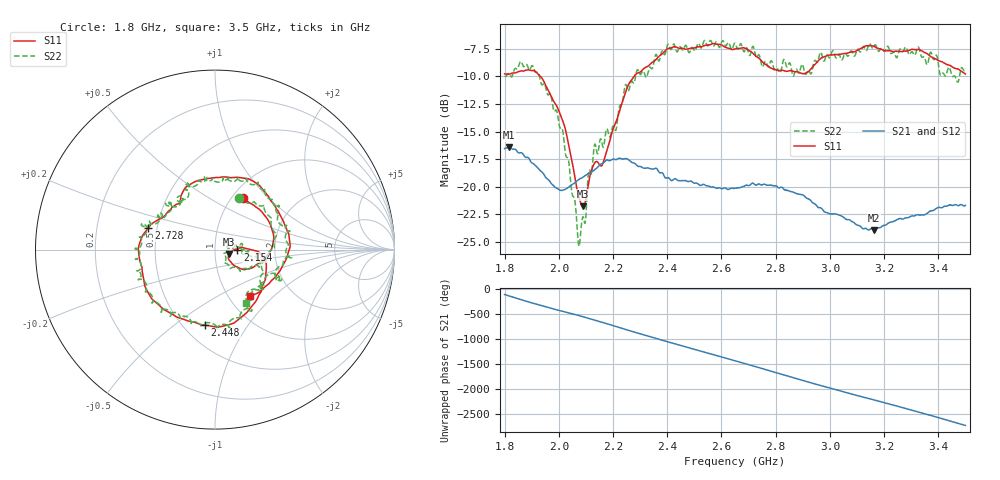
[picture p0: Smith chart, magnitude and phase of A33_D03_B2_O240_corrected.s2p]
! Created with skrf 1.9.0 (http://scikit-rf.org).
# Hz S RI R 50.0
!freq ReS11 ImS11 ReS21 ImS21 ReS12 ImS12 ReS22 ImS22
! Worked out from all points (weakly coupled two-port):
!   1601 points, 1.8 GHz to 3.5 GHz, reference 50 ohm
!   highest |S21| = -16.44 dB at 1.817 GHz (marker M1); lowest = -23.9 dB at 3.163 GHz (marker M2)
!   lowest |S11| = -21.8 dB at 2.09 GHz (marker M3), VSWR 1.18, Z = 58.3 - j2.9 ohm
!   |S11| at or under -10 dB: 1.933 GHz to 2.277 GHz (344.4 MHz wide, 16.4 % of centre)
!   |S22| runs from -25.4 to -6.7 dB; largest |S21 - S12| = 0.0026
!   S11 on the Smith chart (normalised r, x): 1.8 GHz: 1.13, +0.72; 2.154 GHz: 1.28, -0.00; 2.448 GHz: 0.64, -0.65; 2.728 GHz: 0.45, +0.13; 3.5 GHz: 1.25, -0.73
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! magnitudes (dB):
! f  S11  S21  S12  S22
! 1.8 GHz  -9.8  -16.5  -16.5  -9.9
! 1.817 GHz  -9.8  -16.4  -16.5  -9.8
! 1.903 GHz  -9.5  -17.9  -17.9  -9.0
! 1.968 GHz  -11.6  -19.6  -19.6  -11.5
! 2.015 GHz  -14.0  -20.3  -20.3  -14.9
! 2.072 GHz  -20.7  -19.4  -19.4  -25.1
! 2.084 GHz  -21.6  -19.2  -19.2  -23.4
! 2.09 GHz  -21.8  -19.1  -19.2  -22.7
! 2.13 GHz  -17.9  -18.5  -18.5  -16.4
! 2.154 GHz  -18.1  -18.0  -18.0  -15.7
! 2.209 GHz  -14.2  -17.5  -17.5  -14.9
! 2.259 GHz  -10.6  -17.6  -17.6  -11.2
! 2.367 GHz  -8.2  -18.6  -18.5  -8.6
! 2.448 GHz  -7.4  -19.5  -19.5  -7.3
! 2.65 GHz  -7.5  -20.1  -20.1  -7.0
! 2.728 GHz  -8.2  -19.9  -19.9  -8.2
! 2.934 GHz  -9.2  -21.4  -21.4  -9.6
! 3.163 GHz  -7.3  -23.9  -23.9  -7.2
! 3.217 GHz  -7.7  -23.3  -23.3  -7.4
! 3.376 GHz  -8.3  -22.2  -22.2  -7.9
! 3.469 GHz  -9.3  -21.7  -21.7  -10.4
! 3.5 GHz  -9.8  -21.7  -21.7  -9.3
